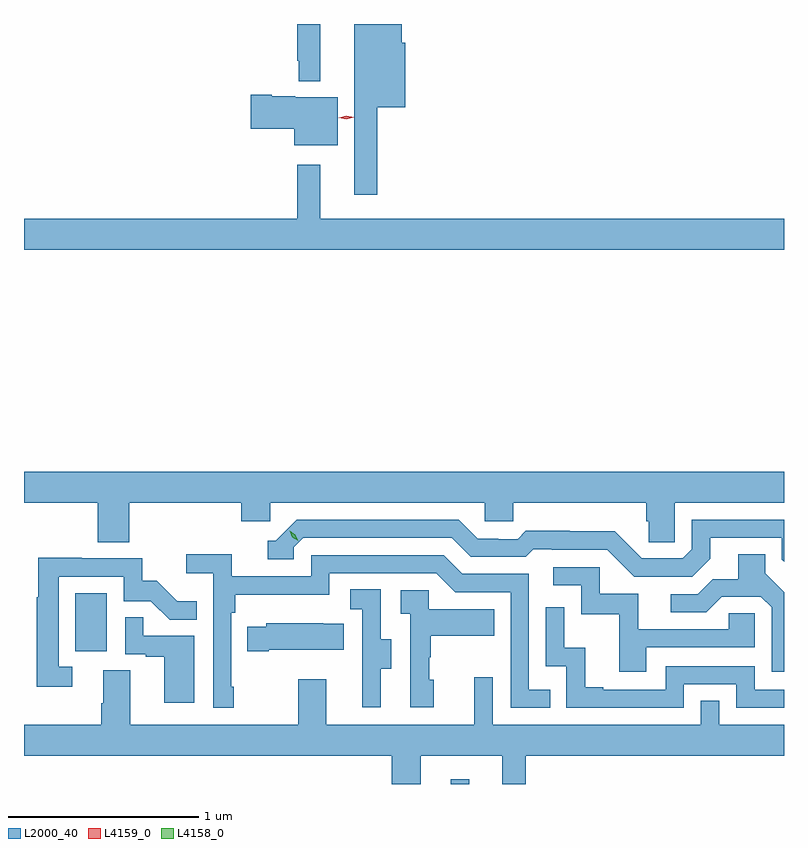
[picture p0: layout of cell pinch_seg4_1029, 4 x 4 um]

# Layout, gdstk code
import gdstk
lib = gdstk.Library(unit=1e-6, precision=1e-09)
def R(c, l, rs):  # rectangles x0, y0, x1, y1
    for r in rs: c.add(gdstk.rectangle(r[:2], r[2:], *l))
def P(c, l, *ps):  # polygons
    for p in ps: c.add(gdstk.Polygon(p, *l))
L2000_40 = (2000, 40)
L4158_0 = (4158, 0)
L4159_0 = (4159, 0)

pinch_seg4_1029 = lib.new_cell('pinch_seg4_1029')
R(pinch_seg4_1029, L2000_40, [(795.998,763.372,796.096,763.396), (794.024,764.07,794.188,764.377)])
P(pinch_seg4_1029, L2000_40, [(795.313,767.372),(795.192,767.372),(795.192,767.179),(795.199,767.179),(795.199,767.072),(795.313,767.072)],
  [(795.613,766.934),(795.76,766.934),(795.76,767.274),(795.742,767.274),(795.742,767.372),(795.491,767.372),(795.491,766.473),(795.613,766.473)],
  [(795.403,766.987),(795.18,766.987),(795.18,766.993),(795.058,766.993),(795.058,767),(794.946,767),(794.946,766.822),(795.176,766.822),(795.176,766.733),(795.403,766.733)],
  [(797.753,766.348),(795.313,766.348),(795.313,766.63),(795.192,766.63),(795.192,766.348),(793.753,766.348),(793.753,766.184),(797.753,766.184)],
  [(794.306,764.852),(794.897,764.852),(794.897,764.754),(795.048,764.754),(795.048,764.852),(796.179,764.852),(796.179,764.754),(796.329,764.754),(796.329,764.852),(797.027,764.852),(797.027,764.754),(797.041,764.754),(797.041,764.644),(797.178,764.644),(797.178,764.852),(797.753,764.852),(797.753,765.016),(793.753,765.016),(793.753,764.852),(794.141,764.852),(794.141,764.644),(794.306,764.644)],
  [(797.365,764.557),(797.365,764.667),(797.742,764.667),(797.742,764.553),(797.753,764.542),(797.753,764.763),(797.268,764.763),(797.268,764.607),(797.22,764.559),(797.004,764.559),(796.862,764.701),(796.626,764.701),(796.626,764.704),(796.393,764.704),(796.351,764.661),(796.248,764.661),(796.248,764.664),(796.141,764.664),(796.042,764.763),(795.189,764.763),(795.078,764.652),(795.035,764.652),(795.035,764.556),(795.174,764.556),(795.174,764.619),(795.222,764.667),(796.005,764.667),(796.104,764.568),(796.393,764.568),(796.432,764.607),(796.531,764.607),(796.531,764.604),(796.824,764.604),(796.965,764.463),(797.271,764.463)],
  [(794.857,763.885),(794.844,763.885),(794.844,764.273),(794.864,764.273),(794.864,764.369),(795.36,764.369),(795.36,764.481),(795.924,764.481),(796.023,764.382),(796.314,764.382),(796.314,763.773),(796.523,763.773),(796.523,763.869),(796.41,763.869),(796.41,764.478),(796.06,764.478),(795.961,764.577),(795.264,764.577),(795.264,764.466),(794.846,764.466),(794.846,764.582),(794.607,764.582),(794.607,764.48),(794.748,764.48),(794.748,763.773),(794.857,763.773)],
  [(797.753,764.38),(797.653,764.48),(797.653,764.582),(797.513,764.582),(797.513,764.45),(797.378,764.45),(797.298,764.37),(797.157,764.37),(797.157,764.277),(797.344,764.277),(797.425,764.358),(797.631,764.358),(797.688,764.301),(797.688,763.962),(797.753,763.962)],
  [(794.008,763.989),(793.935,763.989),(793.935,764.463),(794.277,764.463),(794.277,764.334),(794.421,764.334),(794.519,764.236),(794.663,764.236),(794.663,764.335),(794.559,764.335),(794.452,764.442),(794.376,764.442),(794.376,764.559),(794.057,764.559),(794.057,764.564),(793.827,764.564),(793.827,764.356),(793.819,764.356),(793.819,763.884),(794.008,763.884)],
  [(797.029,764.091),(797.598,764.091),(797.598,764.271),(797.461,764.271),(797.461,764.187),(796.987,764.187),(796.987,764.373),(796.782,764.373),(796.782,764.514),(796.539,764.514),(796.539,764.418),(796.686,764.418),(796.686,764.265),(796.885,764.265),(796.885,763.962),(797.029,763.962)],
  [(795.631,763.978),(795.685,763.978),(795.685,764.133),(795.63,764.133),(795.63,764.396),(795.471,764.396),(795.471,764.293),(795.534,764.293),(795.534,763.989),(795.533,763.989),(795.533,763.776),(795.631,763.776)],
  [(795.91,763.92),(795.885,763.92),(795.885,764.039),(795.895,764.039),(795.895,764.153),(796.229,764.153),(796.229,764.293),(795.882,764.293),(795.882,764.391),(795.735,764.391),(795.735,764.267),(795.786,764.267),(795.786,763.776),(795.91,763.776)],
  [(797.226,763.896),(797.502,763.896),(797.502,763.773),(797.753,763.773),(797.753,763.869),(797.598,763.869),(797.598,763.992),(797.13,763.992),(797.13,763.869),(796.801,763.869),(796.801,763.882),(796.706,763.882),(796.706,764.09),(796.596,764.09),(796.596,764.302),(796.5,764.302),(796.5,763.992),(796.608,763.992),(796.608,763.773),(797.226,763.773)],
  [(794.65,764.151),(794.381,764.151),(794.381,764.249),(794.286,764.249),(794.286,764.055),(794.393,764.055),(794.393,764.043),(794.492,764.043),(794.492,763.8),(794.65,763.8)],
  [(795.04,764.078),(795.437,764.078),(795.437,764.215),(795.329,764.215),(795.329,764.218),(795.027,764.218),(795.027,764.2),(794.929,764.2),(794.929,764.071),(795.04,764.071)],
  [(795.841,763.52),(796.271,763.52),(796.271,763.372),(796.393,763.372),(796.393,763.52),(797.753,763.52),(797.753,763.684),(797.412,763.684),(797.412,763.811),(797.316,763.811),(797.316,763.684),(796.221,763.684),(796.221,763.933),(796.124,763.933),(796.124,763.684),(795.343,763.684),(795.343,763.924),(795.196,763.924),(795.196,763.684),(794.311,763.684),(794.311,763.97),(794.171,763.97),(794.171,763.796),(794.159,763.796),(794.159,763.684),(793.753,763.684),(793.753,763.52),(795.689,763.52),(795.689,763.372),(795.841,763.372)])
P(pinch_seg4_1029, L4158_0, [(795.196,764.652),(795.166,764.672),(795.151,764.704),(795.151,764.705),(795.151,764.705),(795.181,764.685),(795.196,764.652),(795.196,764.652)])
P(pinch_seg4_1029, L4159_0, [(795.45,766.87),(795.409,766.879),(795.409,766.879),(795.409,766.879),(795.449,766.89),(795.49,766.881),(795.49,766.881),(795.49,766.881)])

lib.write_gds('pinch_seg4_1029.gds')
